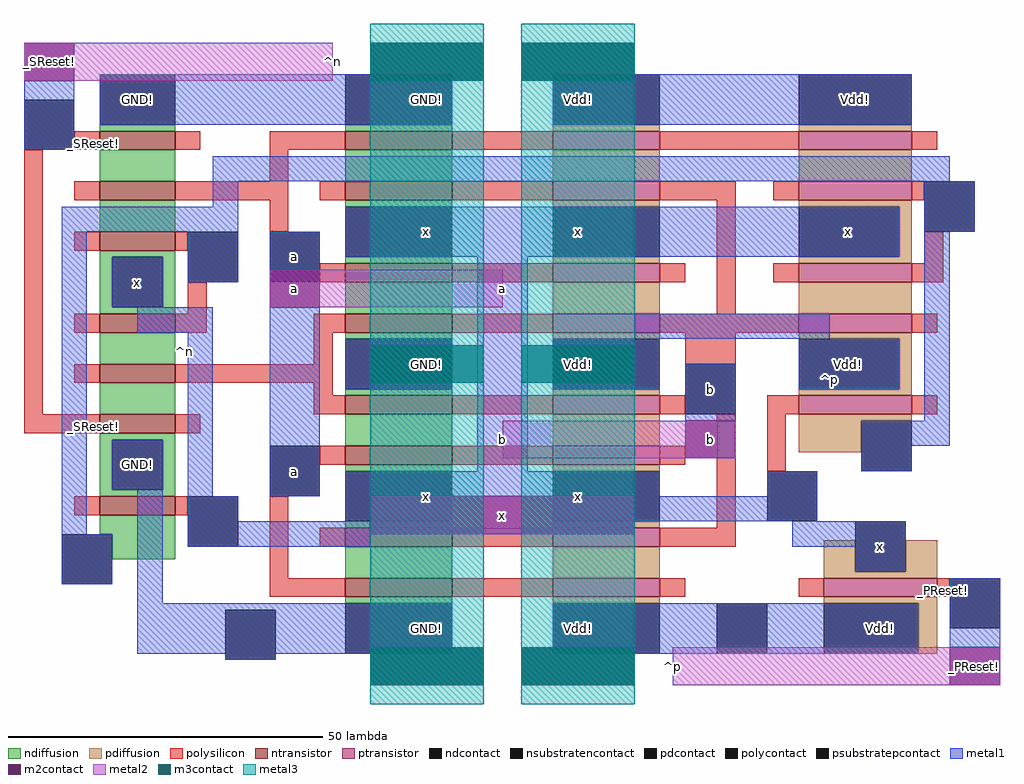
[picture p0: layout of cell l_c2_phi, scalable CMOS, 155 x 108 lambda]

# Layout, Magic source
magic
tech scmos
<< ndiffusion >>
rect -64 128 -52 129
rect -25 128 -8 129
rect -64 120 -52 125
rect -25 120 -8 125
rect -64 112 -52 117
rect -25 116 -8 117
rect -64 108 -52 109
rect -64 100 -62 108
rect -54 100 -52 108
rect -64 99 -52 100
rect -25 107 -8 108
rect -25 99 -8 104
rect -64 91 -52 96
rect -64 83 -52 88
rect -25 95 -8 96
rect -25 86 -8 87
rect -64 79 -52 80
rect -64 71 -62 79
rect -54 71 -52 79
rect -25 78 -8 83
rect -64 70 -52 71
rect -25 74 -8 75
rect -64 64 -52 67
rect -62 60 -52 64
rect -25 65 -8 66
rect -25 57 -8 62
rect -25 53 -8 54
<< pdiffusion >>
rect 8 128 25 129
rect 47 128 65 129
rect 8 120 25 125
rect 47 120 65 125
rect 8 116 25 117
rect 8 107 25 108
rect 8 99 25 104
rect 47 116 65 117
rect 63 108 65 116
rect 47 107 65 108
rect 47 99 65 104
rect 8 95 25 96
rect 8 86 25 87
rect 47 95 65 96
rect 63 87 65 95
rect 47 86 65 87
rect 8 78 25 83
rect 8 74 25 75
rect 8 65 25 66
rect 47 82 65 83
rect 47 77 57 82
rect 8 57 25 62
rect 51 58 56 63
rect 64 58 69 63
rect 51 57 69 58
rect 8 53 25 54
rect 51 53 69 54
rect 66 45 69 53
<< ntransistor >>
rect -64 125 -52 128
rect -25 125 -8 128
rect -64 117 -52 120
rect -25 117 -8 120
rect -64 109 -52 112
rect -25 104 -8 107
rect -64 96 -52 99
rect -25 96 -8 99
rect -64 88 -52 91
rect -25 83 -8 86
rect -64 80 -52 83
rect -25 75 -8 78
rect -64 67 -52 70
rect -25 62 -8 65
rect -25 54 -8 57
<< ptransistor >>
rect 8 125 25 128
rect 47 125 65 128
rect 8 117 25 120
rect 47 117 65 120
rect 8 104 25 107
rect 47 104 65 107
rect 8 96 25 99
rect 47 96 65 99
rect 8 83 25 86
rect 8 75 25 78
rect 47 83 65 86
rect 8 62 25 65
rect 8 54 25 57
rect 51 54 69 57
<< polysilicon >>
rect -68 125 -64 128
rect -52 125 -48 128
rect -37 125 -25 128
rect -8 125 8 128
rect 25 125 47 128
rect 65 125 69 128
rect -76 83 -73 125
rect -37 120 -34 125
rect -68 117 -64 120
rect -52 117 -34 120
rect -29 117 -25 120
rect -8 117 8 120
rect 25 117 37 120
rect 43 117 47 120
rect 65 117 67 120
rect -37 112 -34 117
rect -68 109 -64 112
rect -52 109 -50 112
rect -29 104 -25 107
rect -8 104 8 107
rect 25 104 29 107
rect -50 99 -47 104
rect 34 99 37 117
rect 67 107 70 112
rect 43 104 47 107
rect 65 104 70 107
rect -68 96 -64 99
rect -52 96 -47 99
rect -30 96 -25 99
rect -8 96 8 99
rect 25 96 47 99
rect 65 96 69 99
rect -30 91 -27 96
rect -68 88 -64 91
rect -52 88 -27 91
rect -30 86 -27 88
rect 29 91 37 96
rect -30 83 -25 86
rect -8 83 8 86
rect 25 83 29 86
rect -76 80 -64 83
rect -52 80 -48 83
rect -29 75 -25 78
rect -8 75 8 78
rect 25 75 29 78
rect -68 67 -64 70
rect -52 67 -50 70
rect -37 57 -34 70
rect 34 65 37 83
rect 42 83 47 86
rect 65 83 69 86
rect 42 74 45 83
rect -29 62 -25 65
rect -8 62 8 65
rect 25 62 37 65
rect -37 54 -25 57
rect -8 54 8 57
rect 25 54 29 57
rect 47 54 51 57
rect 69 54 71 57
<< ndcontact >>
rect -64 129 -52 137
rect -25 129 -8 137
rect -62 100 -54 108
rect -25 108 -8 116
rect -25 87 -8 95
rect -62 71 -54 79
rect -70 56 -62 64
rect -25 66 -8 74
rect -25 45 -8 53
<< pdcontact >>
rect 8 129 25 137
rect 47 129 65 137
rect 8 108 25 116
rect 47 108 63 116
rect 8 87 25 95
rect 47 87 63 95
rect 8 66 25 74
rect 57 74 65 82
rect 56 58 64 66
rect 8 45 25 53
rect 51 45 66 53
<< psubstratepcontact >>
rect -44 44 -36 52
<< nsubstratencontact >>
rect 34 45 42 53
<< polycontact >>
rect -76 125 -68 133
rect -50 104 -42 112
rect -37 104 -29 112
rect 67 112 75 120
rect 29 83 37 91
rect -37 70 -29 78
rect -50 62 -42 70
rect 42 66 50 74
rect 71 49 79 57
<< metal1 >>
rect -76 125 -68 136
rect -64 136 -21 137
rect 21 136 65 137
rect -64 129 -8 136
rect 8 129 65 136
rect -46 120 71 124
rect -46 116 -42 120
rect -70 112 -42 116
rect -70 64 -66 112
rect -62 100 -54 108
rect -50 104 -42 112
rect -37 106 -29 112
rect -25 108 63 116
rect 67 112 75 120
rect -58 96 -46 100
rect -62 71 -54 79
rect -70 56 -62 64
rect -58 53 -54 71
rect -50 70 -46 96
rect -37 70 -29 100
rect -25 94 -8 95
rect -25 88 -21 94
rect -25 87 -8 88
rect -4 74 4 108
rect 21 95 52 99
rect 8 94 25 95
rect 21 88 25 94
rect 8 87 25 88
rect 29 82 37 91
rect 47 87 63 95
rect 67 82 71 112
rect 57 78 71 82
rect 57 74 65 78
rect -25 70 25 74
rect 42 70 50 74
rect -50 66 -42 70
rect -25 66 -21 70
rect -50 62 -21 66
rect 21 66 50 70
rect 46 62 64 66
rect 56 58 64 62
rect -58 46 -8 53
rect 8 46 66 53
rect -58 45 -21 46
rect -44 44 -36 45
rect 21 45 66 46
rect 71 46 79 57
<< m2contact >>
rect -76 136 -68 142
rect -21 136 -3 142
rect 3 136 21 142
rect -37 100 -29 106
rect -21 88 -8 94
rect 8 88 21 94
rect 29 76 37 82
rect -21 64 21 70
rect -21 40 -3 46
rect 3 40 21 46
rect 71 40 79 46
<< metal2 >>
rect -76 136 -27 142
rect -37 100 0 106
rect 0 76 37 82
rect -21 64 21 70
rect 27 40 79 46
<< m3contact >>
rect -21 136 -3 142
rect 3 136 21 142
rect -21 88 -3 94
rect 3 88 21 94
rect -21 40 -3 46
rect 3 40 21 46
<< metal3 >>
rect -21 37 -3 145
rect 3 37 21 145
<< labels >>
rlabel metal1 -12 112 -12 112 1 x
rlabel metal1 12 112 12 112 1 x
rlabel metal1 12 133 12 133 5 Vdd!
rlabel metal1 -12 133 -12 133 5 GND!
rlabel m2contact 12 91 12 91 1 Vdd!
rlabel metal1 -12 49 -12 49 1 GND!
rlabel metal1 12 49 12 49 1 Vdd!
rlabel metal1 12 70 12 70 1 x
rlabel metal1 -12 70 -12 70 1 x
rlabel m2contact -12 91 -12 91 1 GND!
rlabel polysilicon -65 126 -65 126 1 _SReset!
rlabel polysilicon -65 81 -65 81 1 _SReset!
rlabel metal1 -58 104 -58 104 1 x
rlabel metal1 -33 108 -33 108 1 a
rlabel metal1 -33 74 -33 74 1 a
rlabel metal1 -58 75 -58 75 1 GND!
rlabel metal1 -58 133 -58 133 5 GND!
rlabel metal1 55 91 55 91 1 Vdd!
rlabel metal1 55 112 55 112 5 x
rlabel metal1 56 133 56 133 5 Vdd!
rlabel metal1 33 87 33 87 1 b
rlabel metal2 0 76 0 82 3 b
rlabel metal2 0 100 0 106 7 a
rlabel metal2 0 67 0 67 1 x
rlabel polysilicon 70 55 70 55 1 _PReset!
rlabel metal1 60 62 60 62 1 x
rlabel metal1 60 49 60 49 1 Vdd!
rlabel metal2 -72 139 -72 139 3 _SReset!
rlabel metal2 75 43 75 43 7 _PReset!
rlabel space -77 43 -24 143 7 ^n
rlabel metal2 -27 136 -27 142 3 ^n
rlabel metal2 27 40 27 46 7 ^p
rlabel space 24 39 80 138 3 ^p
rlabel metal2 -33 103 -33 103 1 a
rlabel metal2 33 79 33 79 1 b
<< end >>
